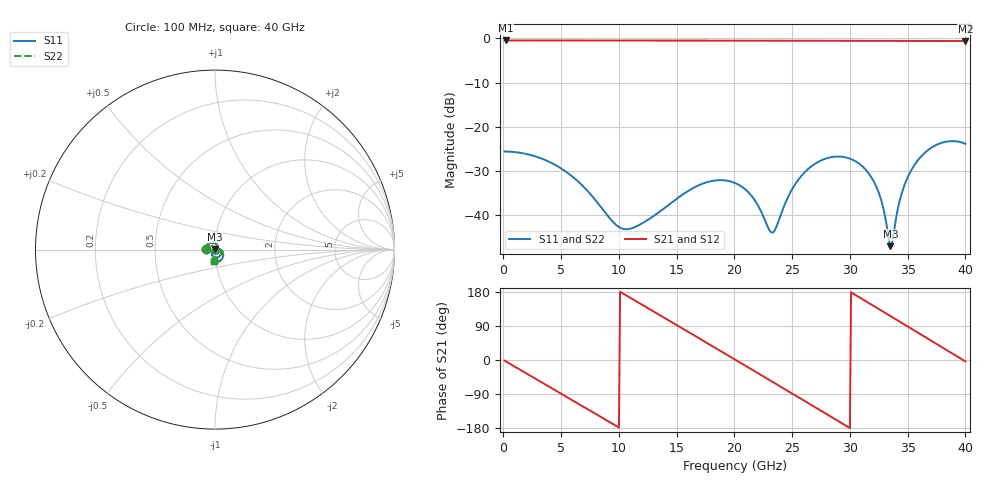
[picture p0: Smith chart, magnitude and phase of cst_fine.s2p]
! thru_s4_L4: 2×thru, L4, 8 mm
! stackup: 4-layer 1.6 mm FR-4
! ports: 1, 2
! CST Studio Suite 2025.5 Release from 2025-05-30, time domain (FIT, hexahedral, PBA), 212976 mesh cells, 37 s
! mesh: {'lpw': 30.0, 'lpb': 30.0, 'minstep': 0.0, 'ratio': 20}; ports: port 1 (face); port 2 (face)
! interpolated from CST's 1001 samples to the case grid
# Hz S RI R 50
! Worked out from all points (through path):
!   400 points, 100 MHz to 40 GHz, reference 50 ohm
!   highest |S21| = -0.47 dB at 200 MHz (marker M1); lowest = -0.6 dB at 40 GHz (marker M2)
!   group delay of S21, straight-line fit = 50.2 ps
!   lowest |S11| = -47.0 dB at 33.5 GHz (marker M3), VSWR 1.01, Z = 49.7 + j0.359 ohm
!   |S11| at or under -10 dB: start of sweep to end of sweep
!   |S22| runs from -47.0 to -23.3 dB; largest |S21 - S12| = 3e-07
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1e8  -0.0524 0.00165  0.9471 -0.0294  0.9471 -0.0294  -0.0524 0.00165
2e8  -0.0523 0.0033  0.9458 -0.0589  0.9458 -0.0589  -0.0523 0.0033
1.9e9  -0.0408 0.028  0.7869 -0.5275  0.7869 -0.5275  -0.0408 0.028
3.8e9  -0.0137 0.0386  0.3597 -0.876  0.3597 -0.876  -0.0137 0.0386
6.8e9  0.0161 0.0147  -0.489 -0.8098  -0.489 -0.8098  0.0161 0.0147
1.01e10  -9.92e-05 -0.0072  -0.945 0.000251  -0.945 0.000251  -9.92e-05 -0.0072
1.34e10  -0.00256 0.0103  -0.4854 0.8101  -0.4854 0.8101  -0.00256 0.0103
1.64e10  0.0201 0.000355  0.3681 0.8689  0.3681 0.8689  0.0201 0.000355
1.84e10  0.0155 -0.0193  0.8082 0.4858  0.8082 0.4858  0.0155 -0.0193
2.01e10  -0.00103 -0.0229  0.9422 0.00526  0.9422 0.00526  -0.00103 -0.0229
2.33e10  -0.00344 0.00533  0.5041 -0.7944  0.5041 -0.7944  -0.00344 0.00533
2.5e10  0.0185 0.00679  0.0253 -0.9399  0.0253 -0.9399  0.0185 0.00679
2.67e10  0.0332 -0.0136  -0.4612 -0.8189  -0.4612 -0.8189  0.0332 -0.0136
2.9e10  0.015 -0.0435  -0.8901 -0.3003  -0.8901 -0.3003  0.015 -0.0435
3.12e10  -0.0156 -0.0307  -0.8727 0.346  -0.8727 0.346  -0.0156 -0.0307
3.26e10  -0.0145 -0.00757  -0.6361 0.6897  -0.6361 0.6897  -0.0145 -0.00757
3.34e10  -0.00427 0.00272  -0.4401 0.8282  -0.4401 0.8282  -0.00427 0.00272
3.35e10  -0.0026 0.00361  -0.4132 0.8419  -0.4132 0.8419  -0.0026 0.00361
3.45e10  0.0167 0.00622  -0.1264 0.9287  -0.1264 0.9287  0.0167 0.00622
3.58e10  0.0394 -0.00888  0.2611 0.8992  0.2611 0.8992  0.0394 -0.00888
3.81e10  0.0335 -0.0577  0.7981 0.4867  0.7981 0.4867  0.0335 -0.0577
4e10  -0.00827 -0.0636  0.9317 -0.0612  0.9317 -0.0612  -0.00827 -0.0636
